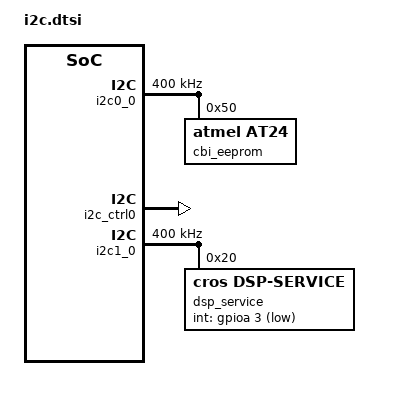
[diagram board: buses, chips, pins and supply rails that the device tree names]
/* Copyright 2024 The ChromiumOS Authors
 * Use of this source code is governed by a BSD-style license that can be
 * found in the LICENSE file.
 */

/ {
	named-i2c-ports {
		compatible = "named-i2c-ports";

		i2c_ec_i2c_eeprom: ec_i2c_eeprom {
			i2c-port = <&i2c0_0>;
			enum-names = "I2C_PORT_EEPROM";
		};
	};
};

&i2c0_0 {
	status = "okay";
	pinctrl-0 = <&i2c0_0_sda_scl_gpb4_b5>;
	pinctrl-names = "default";

	label = "I2C_EEPROM";
	clock-frequency = <I2C_BITRATE_FAST>;

	cbi_eeprom: eeprom@50 {
		compatible = "atmel,at24";
		reg = <0x50>;
		size = <2048>;
		pagesize = <16>;
		address-width = <8>;
		timeout = <5>;
	};
};

&i2c_ctrl0 {
	status = "okay";
};

&i2c6_1 {
    status = "disabled";
};
/delete-node/ &i2c_ec_i2c_charger;

/delete-node/ &i2c_ec_i2c_sensor_r;

&i2c2_0 {
    status = "disabled";
};
/delete-node/ &i2c_i2c_ec_pd;

&i2c1_0 {
	label = "I2C_DSP";
	clock-frequency = <I2C_BITRATE_FAST>;
	dsp_service: dsp-service@20 {
		compatible = "cros,dsp-service";
		reg = <0x20>;
		int-gpios = <&gpioa 3 (GPIO_ACTIVE_LOW)>;
	};
};
